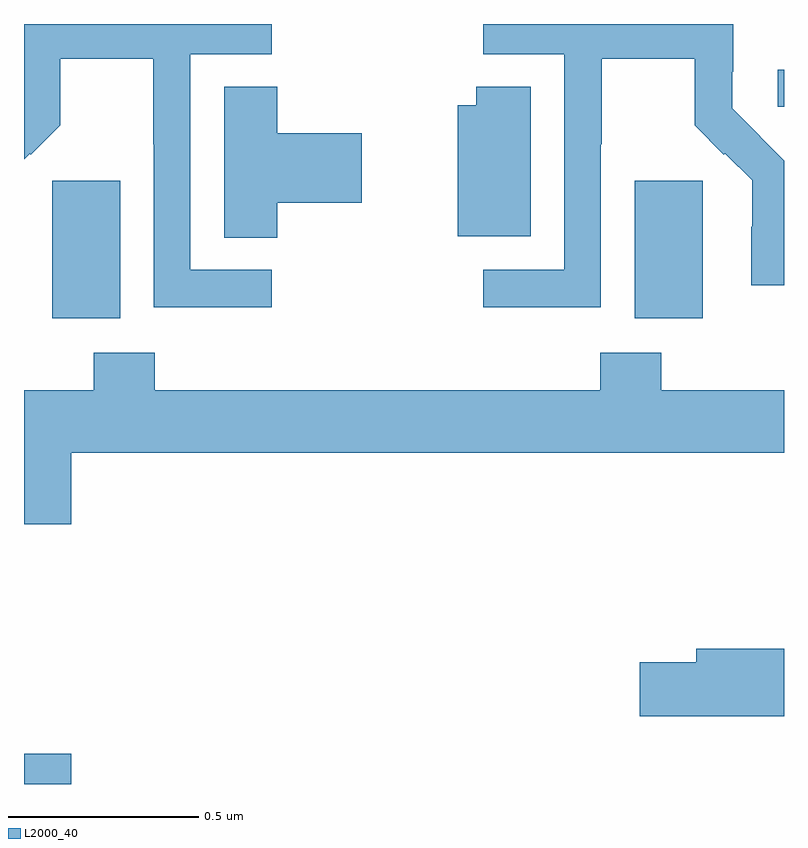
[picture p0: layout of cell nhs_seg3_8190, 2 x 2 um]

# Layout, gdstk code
import gdstk
lib = gdstk.Library(unit=1e-6, precision=1e-09)
def R(c, l, rs):  # rectangles x0, y0, x1, y1
    for r in rs: c.add(gdstk.rectangle(r[:2], r[2:], *l))
def P(c, l, *ps):  # polygons
    for p in ps: c.add(gdstk.Polygon(p, *l))
L2000_40 = (2000, 40)

nhs_seg3_8190 = lib.new_cell('nhs_seg3_8190')
R(nhs_seg3_8190, L2000_40, [(213,677.4,213.124,677.479), (213.074,678.626,213.253,678.987), (214.607,678.626,214.786,678.987), (214.983,679.182,215,679.279)])
P(nhs_seg3_8190, L2000_40, [(213.652,678.753),(213.438,678.753),(213.438,679.32),(213.652,679.32),(213.652,679.4),(213,679.4),(213,679.044),(213.015,679.059),(213.018,679.056),(213.095,679.133),(213.095,679.308),(213.34,679.308),(213.34,679.084),(213.342,679.084),(213.342,678.655),(213.652,678.655)],
  [(214.518,679.084),(214.521,679.084),(214.521,679.308),(214.765,679.308),(214.765,679.133),(214.842,679.056),(214.845,679.059),(214.916,678.989),(214.916,678.866),(214.914,678.866),(214.914,678.712),(215,678.712),(215,679.04),(214.937,679.103),(214.938,679.104),(214.864,679.178),(214.864,679.275),(214.866,679.275),(214.866,679.4),(214.209,679.4),(214.209,679.32),(214.422,679.32),(214.422,678.753),(214.209,678.753),(214.209,678.655),(214.518,678.655)],
  [(214.333,679.235),(214.19,679.235),(214.19,679.186),(214.142,679.186),(214.142,678.842),(214.333,678.842)],
  [(213.666,678.929),(213.889,678.929),(213.889,679.112),(213.666,679.112),(213.666,679.235),(213.527,679.235),(213.527,678.838),(213.666,678.838)],
  [(213.124,678.272),(215,678.272),(215,678.436),(214.677,678.436),(214.677,678.535),(214.517,678.535),(214.517,678.436),(213.344,678.436),(213.344,678.535),(213.184,678.535),(213.184,678.436),(213,678.436),(213,678.084),(213.124,678.084)],
  [(215,677.756),(214.769,677.756),(214.769,677.72),(214.62,677.72),(214.62,677.578),(215,677.578)])

lib.write_gds('nhs_seg3_8190.gds')
